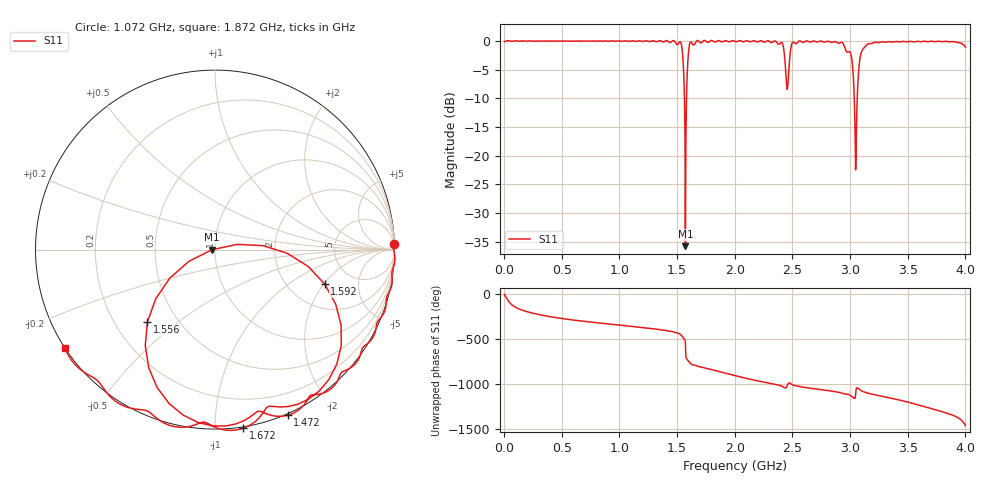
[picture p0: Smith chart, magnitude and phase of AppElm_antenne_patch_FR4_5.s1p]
! TOUCHSTONE file generated by CST MICROWAVE STUDIO
! Date and time: Tue Jun  7 20:32:30 2022
! Project name: AppElm_antenne_patch_FR4.cst
! Parameters = {L=45; W=58.5; e=0.035; h=1.6; lambda=0.190476; ls=120; w0=1.6; w1=0.533333; ws=120; y0=19; y1=23.8095}
! Header version: 2018
! Port assignment regex: !\s*Touchstone port\s*([0-9]+)\s*=\s*(CST MWS port|CST DS port)\s*([0-9]+|Zmin|Zmax)\s*\(\"(.*)\"\)(\s*mode\s*([0-9]+))?.*
! Touchstone port assignment:
! Touchstone port 1 = CST MWS port 1 ("")
# GHz S MA R 50
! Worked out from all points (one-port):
!   1000 points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, 4 MHz to 4 GHz, reference 50 ohm
!   lowest |S11| = -35.8 dB at 1.572 GHz (marker M1), VSWR 1.03, Z = 48.4 - j0.0582 ohm
!   |S11| at or under -10 dB: 1.563 GHz to 1.582 GHz (18.27 MHz wide, 1.16 % of centre); 3.036 GHz to 3.062 GHz (25.78 MHz wide, 0.845 % of centre)
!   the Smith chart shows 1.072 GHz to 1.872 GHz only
!   S11 on the Smith chart (normalised r, x): 1.072 GHz: 5, +62; 1.472 GHz: -0.01, -1.53; 1.556 GHz: 0.34, -0.39; 1.592 GHz: 3.14, -2.03; 1.672 GHz: -0.01, -1.17; 1.872 GHz: 0.00, -0.30
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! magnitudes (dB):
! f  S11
! 4 MHz  -0.1
! 504 MHz  0.0
! 1.004 GHz  0.0
! 1.072 GHz  0.0
! 1.472 GHz  0.1
! 1.504 GHz  -0.6
! 1.54 GHz  -1.0
! 1.556 GHz  -5.2
! 1.572 GHz  -35.8
! 1.592 GHz  -3.9
! 1.6 GHz  -1.7
! 1.612 GHz  -0.3
! 1.672 GHz  0.1
! 1.872 GHz  0.0
! 2.004 GHz  -0.1
! 2.4 GHz  -0.3
! 2.456 GHz  -8.4
! 2.504 GHz  -0.2
! 2.92 GHz  -0.2
! 3.004 GHz  -2.1
! 3.02 GHz  -4.0
! 3.036 GHz  -9.7
! 3.048 GHz  -22.5
! 3.064 GHz  -8.9
! 3.088 GHz  -2.7
! 3.12 GHz  -1.2
! 3.504 GHz  -0.1
! 4 GHz  -1.0
